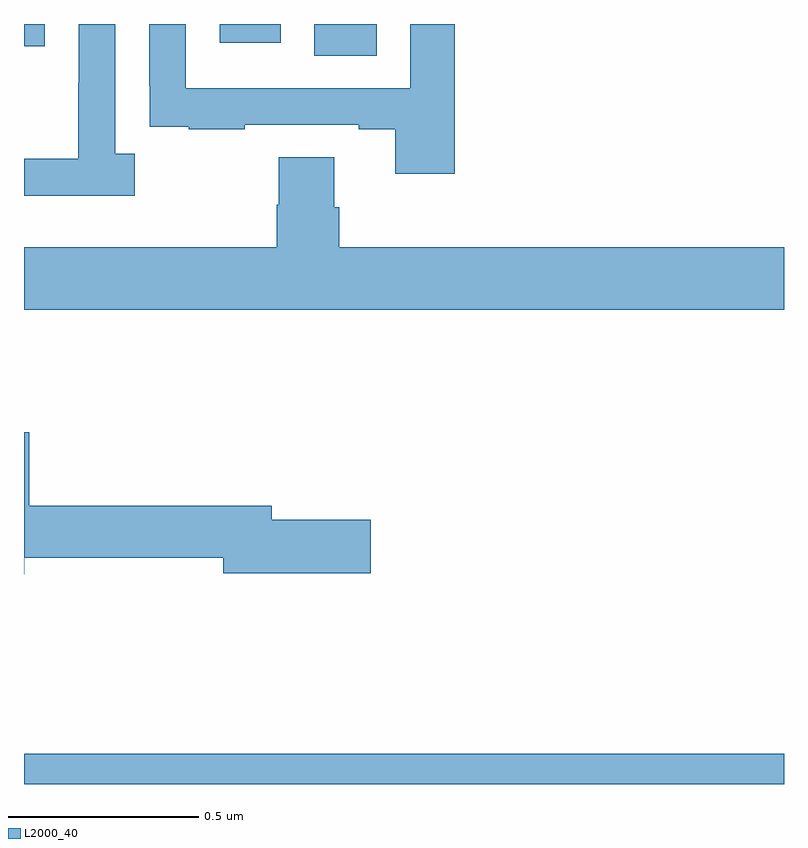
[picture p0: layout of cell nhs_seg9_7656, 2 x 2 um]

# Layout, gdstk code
import gdstk
lib = gdstk.Library(unit=1e-6, precision=1e-09)
def R(c, l, rs):  # rectangles x0, y0, x1, y1
    for r in rs: c.add(gdstk.rectangle(r[:2], r[2:], *l))
def P(c, l, *ps):  # polygons
    for p in ps: c.add(gdstk.Polygon(p, *l))
L2000_40 = (2000, 40)

nhs_seg9_7656 = lib.new_cell('nhs_seg9_7656')
R(nhs_seg9_7656, L2000_40, [(207,1200.5,209,1200.58), (207.764,1202.416,207.928,1202.5), (207,1202.441,207.055,1202.5), (207.515,1202.451,207.676,1202.5)])
P(nhs_seg9_7656, L2000_40, [(207.292,1202.158),(207.24,1202.158),(207.24,1202.5),(207.144,1202.5),(207.144,1202.345),(207.143,1202.345),(207.143,1202.145),(207,1202.145),(207,1202.048),(207.292,1202.048)],
  [(208.133,1202.5),(208.017,1202.5),(208.017,1202.331),(207.426,1202.331),(207.426,1202.5),(207.33,1202.5),(207.33,1202.338),(207.331,1202.338),(207.331,1202.229),(207.433,1202.229),(207.433,1202.223),(207.581,1202.223),(207.581,1202.235),(207.881,1202.235),(207.881,1202.223),(207.977,1202.223),(207.977,1202.106),(208.133,1202.106)],
  [(209,1201.912),(207.83,1201.912),(207.83,1202.018),(207.817,1202.018),(207.817,1202.15),(207.67,1202.15),(207.67,1202.025),(207.665,1202.025),(207.665,1201.912),(207,1201.912),(207,1201.748),(209,1201.748)],
  [(207.001,1201.096),(207.524,1201.096),(207.524,1201.054),(207.913,1201.054),(207.913,1201.196),(207.652,1201.196),(207.652,1201.232),(207.014,1201.232),(207.014,1201.426),(207,1201.426),(207,1201.052),(207.001,1201.052)])

lib.write_gds('nhs_seg9_7656.gds')
